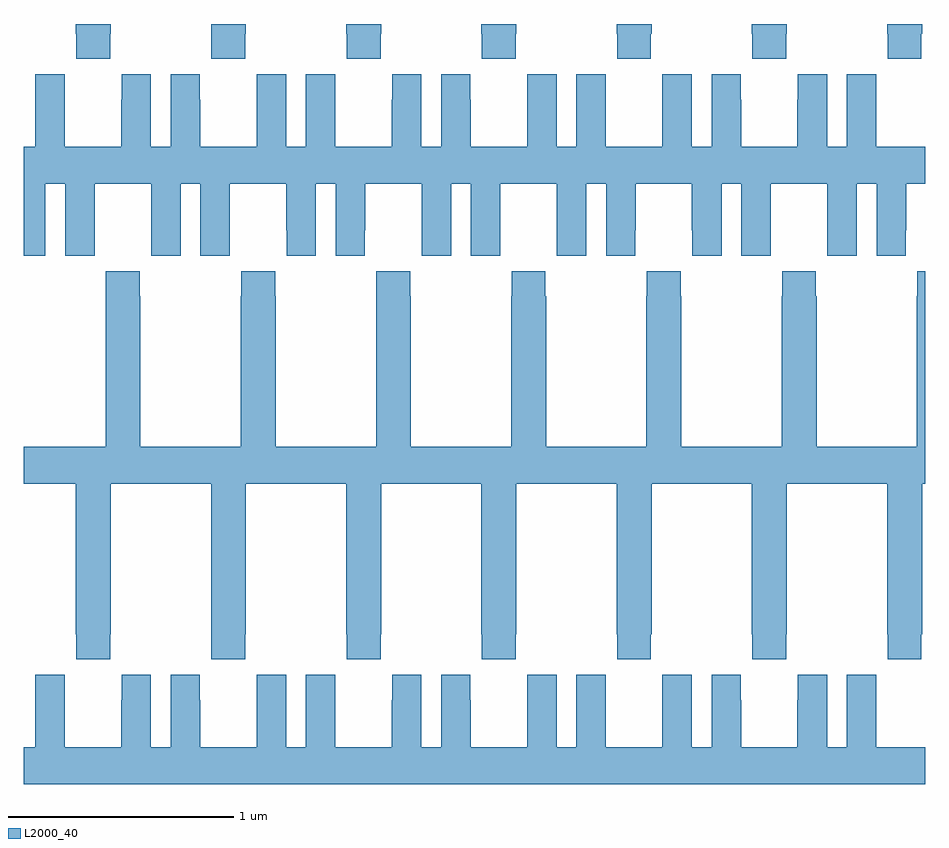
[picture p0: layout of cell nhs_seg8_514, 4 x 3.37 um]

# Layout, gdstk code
import gdstk
lib = gdstk.Library(unit=1e-6, precision=1e-09)
def P(c, l, *ps):  # polygons
    for p in ps: c.add(gdstk.Polygon(p, *l))
L2000_40 = (2000, 40)

nhs_seg8_514 = lib.new_cell('nhs_seg8_514')
P(nhs_seg8_514, L2000_40, [(145.983,1091.857),(145.986,1091.857),(145.986,1091.9),(145.831,1091.9),(145.831,1091.857),(145.833,1091.857),(145.833,1091.745),(145.983,1091.745)],
  [(145.383,1091.857),(145.386,1091.857),(145.386,1091.9),(145.231,1091.9),(145.231,1091.857),(145.233,1091.857),(145.233,1091.745),(145.383,1091.745)],
  [(148.983,1091.857),(148.986,1091.857),(148.986,1091.9),(148.831,1091.9),(148.831,1091.857),(148.833,1091.857),(148.833,1091.745),(148.983,1091.745)],
  [(148.383,1091.857),(148.386,1091.857),(148.386,1091.9),(148.231,1091.9),(148.231,1091.857),(148.233,1091.857),(148.233,1091.745),(148.383,1091.745)],
  [(147.783,1091.857),(147.786,1091.857),(147.786,1091.9),(147.631,1091.9),(147.631,1091.857),(147.633,1091.857),(147.633,1091.745),(147.783,1091.745)],
  [(147.183,1091.857),(147.186,1091.857),(147.186,1091.9),(147.031,1091.9),(147.031,1091.857),(147.033,1091.857),(147.033,1091.745),(147.183,1091.745)],
  [(146.583,1091.857),(146.586,1091.857),(146.586,1091.9),(146.431,1091.9),(146.431,1091.857),(146.433,1091.857),(146.433,1091.745),(146.583,1091.745)],
  [(148.652,1091.677),(148.652,1091.356),(148.564,1091.356),(148.564,1091.677),(148.434,1091.677),(148.434,1091.564),(148.433,1091.564),(148.433,1091.356),(148.183,1091.356),(148.183,1091.564),(148.182,1091.564),(148.182,1091.677),(148.052,1091.677),(148.052,1091.356),(147.964,1091.356),(147.964,1091.677),(147.834,1091.677),(147.834,1091.564),(147.833,1091.564),(147.833,1091.356),(147.583,1091.356),(147.583,1091.564),(147.582,1091.564),(147.582,1091.677),(147.452,1091.677),(147.452,1091.356),(147.364,1091.356),(147.364,1091.677),(147.234,1091.677),(147.234,1091.564),(147.233,1091.564),(147.233,1091.356),(146.983,1091.356),(146.983,1091.564),(146.982,1091.564),(146.982,1091.677),(146.852,1091.677),(146.852,1091.356),(146.764,1091.356),(146.764,1091.677),(146.634,1091.677),(146.634,1091.564),(146.633,1091.564),(146.633,1091.356),(146.383,1091.356),(146.383,1091.564),(146.382,1091.564),(146.382,1091.677),(146.252,1091.677),(146.252,1091.356),(146.164,1091.356),(146.164,1091.677),(146.034,1091.677),(146.034,1091.564),(146.033,1091.564),(146.033,1091.356),(145.783,1091.356),(145.783,1091.564),(145.782,1091.564),(145.782,1091.677),(145.652,1091.677),(145.652,1091.356),(145.564,1091.356),(145.564,1091.677),(145.434,1091.677),(145.434,1091.564),(145.433,1091.564),(145.433,1091.356),(145.183,1091.356),(145.183,1091.564),(145.182,1091.564),(145.182,1091.677),(145.052,1091.677),(145.052,1091.356),(145,1091.356),(145,1090.872),(145.096,1090.872),(145.096,1091.192),(145.184,1091.192),(145.184,1090.872),(145.314,1090.872),(145.314,1090.984),(145.315,1090.984),(145.315,1091.192),(145.565,1091.192),(145.565,1090.984),(145.566,1090.984),(145.566,1090.872),(145.696,1090.872),(145.696,1091.192),(145.784,1091.192),(145.784,1090.872),(145.914,1090.872),(145.914,1090.984),(145.915,1090.984),(145.915,1091.192),(146.165,1091.192),(146.165,1090.984),(146.166,1090.984),(146.166,1090.872),(146.296,1090.872),(146.296,1091.192),(146.384,1091.192),(146.384,1090.872),(146.514,1090.872),(146.514,1090.984),(146.515,1090.984),(146.515,1091.192),(146.765,1091.192),(146.765,1090.984),(146.766,1090.984),(146.766,1090.872),(146.896,1090.872),(146.896,1091.192),(146.984,1091.192),(146.984,1090.872),(147.114,1090.872),(147.114,1090.984),(147.115,1090.984),(147.115,1091.192),(147.365,1091.192),(147.365,1090.984),(147.366,1090.984),(147.366,1090.872),(147.496,1090.872),(147.496,1091.192),(147.584,1091.192),(147.584,1090.872),(147.714,1090.872),(147.714,1090.984),(147.715,1090.984),(147.715,1091.192),(147.965,1091.192),(147.965,1090.984),(147.966,1090.984),(147.966,1090.872),(148.096,1090.872),(148.096,1091.192),(148.184,1091.192),(148.184,1090.872),(148.314,1090.872),(148.314,1090.984),(148.315,1090.984),(148.315,1091.192),(148.565,1091.192),(148.565,1090.984),(148.566,1090.984),(148.566,1090.872),(148.696,1090.872),(148.696,1091.192),(148.784,1091.192),(148.784,1090.872),(148.914,1090.872),(148.914,1090.984),(148.915,1090.984),(148.915,1091.192),(149,1091.192),(149,1091.356),(148.783,1091.356),(148.783,1091.564),(148.782,1091.564),(148.782,1091.677)],
  [(145.383,1089.193),(145.386,1089.193),(145.386,1089.86),(145.831,1089.86),(145.831,1089.193),(145.833,1089.193),(145.833,1089.081),(145.983,1089.081),(145.983,1089.193),(145.986,1089.193),(145.986,1089.86),(146.431,1089.86),(146.431,1089.193),(146.433,1089.193),(146.433,1089.081),(146.583,1089.081),(146.583,1089.193),(146.586,1089.193),(146.586,1089.86),(147.031,1089.86),(147.031,1089.193),(147.033,1089.193),(147.033,1089.081),(147.183,1089.081),(147.183,1089.193),(147.186,1089.193),(147.186,1089.86),(147.631,1089.86),(147.631,1089.193),(147.633,1089.193),(147.633,1089.081),(147.783,1089.081),(147.783,1089.193),(147.786,1089.193),(147.786,1089.86),(148.231,1089.86),(148.231,1089.193),(148.233,1089.193),(148.233,1089.081),(148.383,1089.081),(148.383,1089.193),(148.386,1089.193),(148.386,1089.86),(148.831,1089.86),(148.831,1089.193),(148.833,1089.193),(148.833,1089.081),(148.983,1089.081),(148.983,1089.193),(148.986,1089.193),(148.986,1089.86),(149,1089.86),(149,1090.804),(148.965,1090.804),(148.965,1090.691),(148.963,1090.691),(148.963,1090.024),(148.518,1090.024),(148.518,1090.691),(148.515,1090.691),(148.515,1090.804),(148.365,1090.804),(148.365,1090.691),(148.363,1090.691),(148.363,1090.024),(147.918,1090.024),(147.918,1090.691),(147.915,1090.691),(147.915,1090.804),(147.765,1090.804),(147.765,1090.691),(147.763,1090.691),(147.763,1090.024),(147.318,1090.024),(147.318,1090.691),(147.315,1090.691),(147.315,1090.804),(147.165,1090.804),(147.165,1090.691),(147.163,1090.691),(147.163,1090.024),(146.718,1090.024),(146.718,1090.691),(146.715,1090.691),(146.715,1090.804),(146.565,1090.804),(146.565,1090.691),(146.563,1090.691),(146.563,1090.024),(146.118,1090.024),(146.118,1090.691),(146.115,1090.691),(146.115,1090.804),(145.965,1090.804),(145.965,1090.691),(145.963,1090.691),(145.963,1090.024),(145.518,1090.024),(145.518,1090.691),(145.515,1090.691),(145.515,1090.804),(145.365,1090.804),(145.365,1090.691),(145.363,1090.691),(145.363,1090.024),(145,1090.024),(145,1089.86),(145.231,1089.86),(145.231,1089.193),(145.233,1089.193),(145.233,1089.081),(145.383,1089.081)],
  [(149,1088.692),(148.783,1088.692),(148.783,1088.9),(148.782,1088.9),(148.782,1089.013),(148.652,1089.013),(148.652,1088.692),(148.564,1088.692),(148.564,1089.013),(148.434,1089.013),(148.434,1088.9),(148.433,1088.9),(148.433,1088.692),(148.183,1088.692),(148.183,1088.9),(148.182,1088.9),(148.182,1089.013),(148.052,1089.013),(148.052,1088.692),(147.964,1088.692),(147.964,1089.013),(147.834,1089.013),(147.834,1088.9),(147.833,1088.9),(147.833,1088.692),(147.583,1088.692),(147.583,1088.9),(147.582,1088.9),(147.582,1089.013),(147.452,1089.013),(147.452,1088.692),(147.364,1088.692),(147.364,1089.013),(147.234,1089.013),(147.234,1088.9),(147.233,1088.9),(147.233,1088.692),(146.983,1088.692),(146.983,1088.9),(146.982,1088.9),(146.982,1089.013),(146.852,1089.013),(146.852,1088.692),(146.764,1088.692),(146.764,1089.013),(146.634,1089.013),(146.634,1088.9),(146.633,1088.9),(146.633,1088.692),(146.383,1088.692),(146.383,1088.9),(146.382,1088.9),(146.382,1089.013),(146.252,1089.013),(146.252,1088.692),(146.164,1088.692),(146.164,1089.013),(146.034,1089.013),(146.034,1088.9),(146.033,1088.9),(146.033,1088.692),(145.783,1088.692),(145.783,1088.9),(145.782,1088.9),(145.782,1089.013),(145.652,1089.013),(145.652,1088.692),(145.564,1088.692),(145.564,1089.013),(145.434,1089.013),(145.434,1088.9),(145.433,1088.9),(145.433,1088.692),(145.183,1088.692),(145.183,1088.9),(145.182,1088.9),(145.182,1089.013),(145.052,1089.013),(145.052,1088.692),(145,1088.692),(145,1088.528),(149,1088.528)])

lib.write_gds('nhs_seg8_514.gds')
